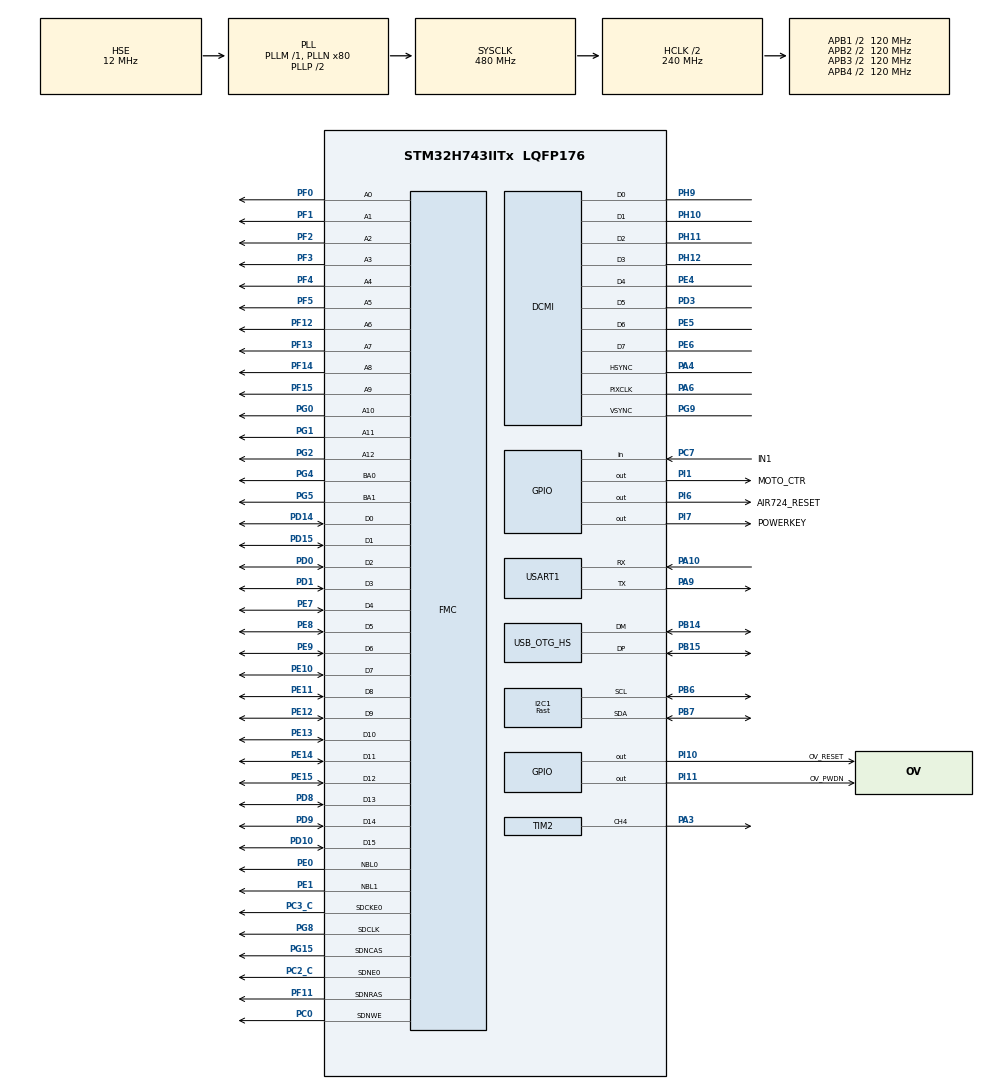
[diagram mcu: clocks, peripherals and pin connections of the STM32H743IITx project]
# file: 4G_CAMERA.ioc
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CORTEX_M7.AccessPermission_Spec=MPU_REGION_FULL_ACCESS
CORTEX_M7.BaseAddress_Spec=0x24000000
CORTEX_M7.CPU_DCache=Enabled
CORTEX_M7.CPU_ICache=Enabled
CORTEX_M7.DisableExec_Spec=MPU_INSTRUCTION_ACCESS_ENABLE
CORTEX_M7.Enable_S-Cortex_Memory_Protection_Unit_Region1_Settings_S=__NULL
CORTEX_M7.IsBufferable_Spec=MPU_ACCESS_BUFFERABLE
CORTEX_M7.IsCacheable_Spec=MPU_ACCESS_CACHEABLE
CORTEX_M7.IsShareable_Spec=MPU_ACCESS_NOT_SHAREABLE
CORTEX_M7.MPU_Control=MPU_PRIVILEGED_DEFAULT
CORTEX_M7.Size_Spec=MPU_REGION_SIZE_512KB
CORTEX_M7.SubRegionDisable_Spec=0x0
CORTEX_M7.TypeExtField_Spec=MPU_TEX_LEVEL0
CORTEX_M7.default_mode_Activation=1
DCMI.HSPolarity=DCMI_HSPOLARITY_LOW
DCMI.JPEGMode=DCMI_JPEG_DISABLE
DCMI.PCKPolarity=DCMI_PCKPOLARITY_RISING
DCMI.VSPolarity=DCMI_VSPOLARITY_HIGH
Dma.DCMI.0.Direction=DMA_PERIPH_TO_MEMORY
Dma.DCMI.0.EventEnable=DISABLE
Dma.DCMI.0.FIFOMode=DMA_FIFOMODE_ENABLE
Dma.DCMI.0.FIFOThreshold=DMA_FIFO_THRESHOLD_FULL
Dma.DCMI.0.Instance=DMA1_Stream0
Dma.DCMI.0.MemBurst=DMA_MBURST_SINGLE
Dma.DCMI.0.MemDataAlignment=DMA_MDATAALIGN_WORD
Dma.DCMI.0.MemInc=DMA_MINC_ENABLE
Dma.DCMI.0.Mode=DMA_NORMAL
Dma.DCMI.0.PeriphBurst=DMA_PBURST_SINGLE
Dma.DCMI.0.PeriphDataAlignment=DMA_PDATAALIGN_WORD
Dma.DCMI.0.PeriphInc=DMA_PINC_DISABLE
Dma.DCMI.0.Polarity=HAL_DMAMUX_REQ_GEN_RISING
Dma.DCMI.0.Priority=DMA_PRIORITY_VERY_HIGH
Dma.DCMI.0.RequestNumber=1
Dma.DCMI.0.SignalID=NONE
Dma.DCMI.0.SyncEnable=DISABLE
Dma.DCMI.0.SyncPolarity=HAL_DMAMUX_SYNC_NO_EVENT
Dma.DCMI.0.SyncRequestNumber=1
Dma.DCMI.0.SyncSignalID=NONE
Dma.Request0=DCMI
FMC.CASLatency1=FMC_SDRAM_CAS_LATENCY_3
FMC.ColumnBitsNumber1=FMC_SDRAM_COLUMN_BITS_NUM_9
FMC.ExitSelfRefreshDelay1=8
FMC.LoadToActiveDelay1=2
FMC.RCDDelay1=2
FMC.RPDelay1=2
FMC.ReadBurst1=FMC_SDRAM_RBURST_ENABLE
FMC.ReadPipeDelay1=FMC_SDRAM_RPIPE_DELAY_1
FMC.RowCycleDelay1=6
FMC.SDClockPeriod1=FMC_SDRAM_CLOCK_PERIOD_2
FMC.SelfRefreshTime1=6
FMC.WriteRecoveryTime1=6
FREERTOS.Tasks01=defaultTask,24,128,StartDefaultTask,Default,NULL,Dynamic,NULL,NULL;cmdAnalysis,31,512,StartCmdAnalysis,Default,NULL,Dynamic,NULL,NULL;sendDataTask,30,512,StartSendDataTask,Default,NULL,Dynamic,NULL,NULL;ledTask,23,128,StartLedTask,Default,NULL,Dynamic,NULL,NULL;motoTask,8,128,StartMotoTask,Default,NULL,Dynamic,NULL,NULL
FREERTOS.configENABLE_FPU=1
I2C1.I2C_Speed_Mode=I2C_Fast
I2C1.Timing=0x00B03FDB
JPEG.JPEG_RGB_FORMAT=JPEG_RGB565
JPEG.JPEG_SWAP_RG=0
Mcu.Family=STM32H7
Mcu.Name=STM32H743IITx
Mcu.Package=LQFP176
NVIC.DCMI_IRQn=true\:5\:0\:false\:false\:true\:true\:true\:true\:true
NVIC.DMA1_Stream0_IRQn=true\:5\:0\:false\:false\:true\:true\:false\:true\:true
NVIC.OTG_HS_IRQn=true\:5\:0\:false\:false\:true\:true\:false\:true\:true
NVIC.PriorityGroup=NVIC_PRIORITYGROUP_4
NVIC.TIM17_IRQn=true\:15\:0\:false\:false\:true\:false\:false\:true\:true
NVIC.TimeBase=TIM17_IRQn
NVIC.TimeBaseIP=TIM17
NVIC.USART1_IRQn=true\:5\:0\:false\:false\:true\:true\:true\:true\:true
PA10.Mode=Asynchronous
PA10.Signal=USART1_RX
PA13\ (JTMS/SWDIO).Mode=Serial_Wire
PA13\ (JTMS/SWDIO).Signal=DEBUG_JTMS-SWDIO
PA14\ (JTCK/SWCLK).Mode=Serial_Wire
PA14\ (JTCK/SWCLK).Signal=DEBUG_JTCK-SWCLK
PA3.Signal=S_TIM2_CH4
PA4.Mode=Slave_8_bits_External_Synchro
PA4.Signal=DCMI_HSYNC
PA6.Mode=Slave_8_bits_External_Synchro
PA6.Signal=DCMI_PIXCLK
PA9.Mode=Asynchronous
PA9.Signal=USART1_TX
PB14.Mode=Device_Only_FS
PB14.Signal=USB_OTG_HS_DM
PB15.Mode=Device_Only_FS
PB15.Signal=USB_OTG_HS_DP
PB6.Mode=I2C
PB6.Signal=I2C1_SCL
PB7.Mode=I2C
PB7.Signal=I2C1_SDA
PC0.Signal=FMC_SDNWE
PC2_C.Mode=SdramChipSelect1_1
PC2_C.Signal=FMC_SDNE0
PC3_C.Mode=SdramChipSelect1_1
PC3_C.Signal=FMC_SDCKE0
PC7.GPIO_Label=IN1
PC7.Signal=GPIO_Input
PD0.Signal=FMC_D2_DA2
PD1.Signal=FMC_D3_DA3
PD10.Signal=FMC_D15_DA15
PD14.Signal=FMC_D0_DA0
PD15.Signal=FMC_D1_DA1
PD3.Mode=Slave_8_bits_External_Synchro
PD3.Signal=DCMI_D5
PD8.Signal=FMC_D13_DA13
PD9.Signal=FMC_D14_DA14
PE0.Signal=FMC_NBL0
PE1.Signal=FMC_NBL1
PE10.Signal=FMC_D7_DA7
PE11.Signal=FMC_D8_DA8
PE12.Signal=FMC_D9_DA9
PE13.Signal=FMC_D10_DA10
PE14.Signal=FMC_D11_DA11
PE15.Signal=FMC_D12_DA12
PE4.Mode=Slave_8_bits_External_Synchro
PE4.Signal=DCMI_D4
PE5.Mode=Slave_8_bits_External_Synchro
PE5.Signal=DCMI_D6
PE6.Mode=Slave_8_bits_External_Synchro
PE6.Signal=DCMI_D7
PE7.Signal=FMC_D4_DA4
PE8.Signal=FMC_D5_DA5
PE9.Signal=FMC_D6_DA6
PF0.Signal=FMC_A0
PF1.Signal=FMC_A1
PF11.Signal=FMC_SDNRAS
PF12.Signal=FMC_A6
PF13.Signal=FMC_A7
PF14.Signal=FMC_A8
PF15.Signal=FMC_A9
PF2.Signal=FMC_A2
PF3.Signal=FMC_A3
PF4.Signal=FMC_A4
PF5.Signal=FMC_A5
PG0.Signal=FMC_A10
PG1.Signal=FMC_A11
PG15.Signal=FMC_SDNCAS
PG2.Signal=FMC_A12
PG4.Signal=FMC_A14_BA0
PG5.Signal=FMC_A15_BA1
PG8.Signal=FMC_SDCLK
PG9.Mode=Slave_8_bits_External_Synchro
PG9.Signal=DCMI_VSYNC
PH0-OSC_IN\ (PH0).Mode=HSE-External-Clock-Source
PH0-OSC_IN\ (PH0).Signal=RCC_OSC_IN
PH10.Mode=Slave_8_bits_External_Synchro
PH10.Signal=DCMI_D1
PH11.Mode=Slave_8_bits_External_Synchro
PH11.Signal=DCMI_D2
PH12.Mode=Slave_8_bits_External_Synchro
PH12.Signal=DCMI_D3
PH9.Mode=Slave_8_bits_External_Synchro
PH9.Signal=DCMI_D0
PI1.GPIO_Label=MOTO_CTR
PI1.GPIO_PuPd=GPIO_PULLUP
PI1.GPIO_Speed=GPIO_SPEED_FREQ_VERY_HIGH
PI1.Signal=GPIO_Output
PI10.GPIO_Label=OV_RESET
PI10.GPIO_PuPd=GPIO_PULLUP
PI10.GPIO_Speed=GPIO_SPEED_FREQ_VERY_HIGH
PI10.Signal=GPIO_Output
PI11.GPIO_Label=OV_PWDN
PI11.GPIO_ModeDefaultOutputPP=GPIO_MODE_OUTPUT_PP
PI11.GPIO_PuPd=GPIO_PULLUP
PI11.GPIO_Speed=GPIO_SPEED_FREQ_VERY_HIGH
PI11.Signal=GPIO_Output
PI6.GPIO_Label=AIR724_RESET
PI6.GPIO_PuPd=GPIO_PULLUP
PI6.GPIO_Speed=GPIO_SPEED_FREQ_VERY_HIGH
PI6.Signal=GPIO_Output
PI7.GPIO_Label=POWERKEY
PI7.GPIO_PuPd=GPIO_PULLUP
PI7.GPIO_Speed=GPIO_SPEED_FREQ_VERY_HIGH
PI7.Signal=GPIO_Output
ProjectManager.HeapSize=0x200
ProjectManager.StackSize=0x400
ProjectManager.TargetToolchain=MDK-ARM V5.32
RCC.ADCFreq_Value=75000000
RCC.APB1Freq_Value=120000000
RCC.APB2Freq_Value=120000000
RCC.APB3Freq_Value=120000000
RCC.APB4Freq_Value=120000000
RCC.CortexFreq_Value=480000000
RCC.D1PPRE=RCC_APB3_DIV2
RCC.D2PPRE1=RCC_APB1_DIV2
RCC.D2PPRE2=RCC_APB2_DIV2
RCC.D3PPRE=RCC_APB4_DIV2
RCC.DIVM1=1
RCC.DIVM2=1
RCC.DIVN1=80
RCC.DIVN2=12
RCC.DIVQ1=4
RCC.DIVR2=1
RCC.FMCCLockSelection=RCC_FMCCLKSOURCE_PLL2
RCC.HCLKFreq_Value=240000000
RCC.HPRE=RCC_HCLK_DIV2
RCC.HSE_VALUE=12000000
RCC.PLL2FRACN=4096
RCC.PLL3FRACN=0
RCC.PLLFRACN=0
RCC.PLLSourceVirtual=RCC_PLLSOURCE_HSE
RCC.ProductRev=revV
RCC.RCC_MCO1Source=RCC_MCO1SOURCE_HSE
RCC.RCC_MCO2Source=RCC_MCO2SOURCE_PLL2PCLK
RCC.RCC_TIM_PRescaler_Selection=RCC_TIMPRES_DESACTIVATED
RCC.RTCClockSelection=RCC_RTCCLKSOURCE_LSE
RCC.SYSCLKFreq_VALUE=480000000
RCC.SYSCLKSource=RCC_SYSCLKSOURCE_PLLCLK
RCC.SupplySource=PWR_LDO_SUPPLY
RCC.USBCLockSelection=RCC_USBCLKSOURCE_HSI48
RCC.USBFreq_Value=48000000
SH.FMC_A0.0=FMC_A0,13b-sda1
SH.FMC_A1.0=FMC_A1,13b-sda1
SH.FMC_A10.0=FMC_A10,13b-sda1
SH.FMC_A11.0=FMC_A11,13b-sda1
SH.FMC_A12.0=FMC_A12,13b-sda1
SH.FMC_A14_BA0.0=FMC_BA0,FourSdramBanks1
SH.FMC_A15_BA1.0=FMC_BA1,FourSdramBanks1
SH.FMC_A2.0=FMC_A2,13b-sda1
SH.FMC_A3.0=FMC_A3,13b-sda1
SH.FMC_A4.0=FMC_A4,13b-sda1
SH.FMC_A5.0=FMC_A5,13b-sda1
SH.FMC_A6.0=FMC_A6,13b-sda1
SH.FMC_A7.0=FMC_A7,13b-sda1
SH.FMC_A8.0=FMC_A8,13b-sda1
SH.FMC_A9.0=FMC_A9,13b-sda1
SH.FMC_D0_DA0.0=FMC_D0,sd-16b-d1
SH.FMC_D10_DA10.0=FMC_D10,sd-16b-d1
SH.FMC_D11_DA11.0=FMC_D11,sd-16b-d1
SH.FMC_D12_DA12.0=FMC_D12,sd-16b-d1
SH.FMC_D13_DA13.0=FMC_D13,sd-16b-d1
SH.FMC_D14_DA14.0=FMC_D14,sd-16b-d1
SH.FMC_D15_DA15.0=FMC_D15,sd-16b-d1
SH.FMC_D1_DA1.0=FMC_D1,sd-16b-d1
SH.FMC_D2_DA2.0=FMC_D2,sd-16b-d1
SH.FMC_D3_DA3.0=FMC_D3,sd-16b-d1
SH.FMC_D4_DA4.0=FMC_D4,sd-16b-d1
SH.FMC_D5_DA5.0=FMC_D5,sd-16b-d1
SH.FMC_D6_DA6.0=FMC_D6,sd-16b-d1
SH.FMC_D7_DA7.0=FMC_D7,sd-16b-d1
SH.FMC_D8_DA8.0=FMC_D8,sd-16b-d1
SH.FMC_D9_DA9.0=FMC_D9,sd-16b-d1
SH.FMC_NBL0.0=FMC_NBL0,Sd2ByteEnable1
SH.FMC_NBL1.0=FMC_NBL1,Sd2ByteEnable1
SH.FMC_SDCLK.0=FMC_SDCLK,13b-sda1
SH.FMC_SDNCAS.0=FMC_SDNCAS,13b-sda1
SH.FMC_SDNRAS.0=FMC_SDNRAS,13b-sda1
SH.FMC_SDNWE.0=FMC_SDNWE,13b-sda1
SH.S_TIM2_CH4.0=TIM2_CH4,PWM Generation4 CH4
TIM2.Channel-PWM\ Generation4\ CH4=TIM_CHANNEL_4
TIM2.Period=100
TIM2.Prescaler=199
USART1.VirtualMode-Asynchronous=VM_ASYNC
USB_DEVICE.CLASS_NAME_HS=CDC
USB_DEVICE.VirtualMode-CDC_HS=Cdc
USB_DEVICE.VirtualModeHS=Cdc_HS
USB_OTG_HS.VirtualMode-Device_Only_FS=Device_Only_FS
VP_FREERTOS_VS_CMSIS_V2.Mode=CMSIS_V2
VP_JPEG_VS_JPEG.Mode=JPEG_Activate
VP_SYS_VS_tim17.Mode=TIM17
VP_TIM2_VS_ClockSourceINT.Mode=Internal
VP_USB_DEVICE_VS_USB_DEVICE_CDC_HS.Mode=CDC_HS
board=custom

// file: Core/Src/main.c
/* USER CODE BEGIN Header */
/**
  ******************************************************************************
  * @file           : main.c
  * @brief          : Main program body
  ******************************************************************************
  * @attention
  *
  * Copyright (c) 2024 STMicroelectronics.
  * All rights reserved.
  *
  * This software is licensed under terms that can be found in the LICENSE file
  * in the root directory of this software component.
  * If no LICENSE file comes with this software, it is provided AS-IS.
  *
  ******************************************************************************
  */
/* USER CODE END Header */
#include "main.h"
#include "cmsis_os.h"
#include "dcmi.h"
#include "dma.h"
#include "i2c.h"
#include "jpeg.h"
#include "tim.h"
#include "usart.h"
#include "usb_device.h"
#include "gpio.h"
#include "fmc.h"

/* USER CODE BEGIN Includes */
#include "sdram.h"
#include "ov5640.h"
#include "flash.h"
#include "stm32h7xx_it.h"
/* USER CODE END Includes */

/* USER CODE BEGIN PV */

uint32_t bsp_TestExtSDRAM(void);

unsigned int SysClockFreq = 0;
unsigned char DMA_END_FLAG = 0;

unsigned char *picStart;

uint32_t dcmi_data_buff[RGB_DATA_BUFFER_SIZE/4];//JPEG数据缓存buf,定义在LCD帧缓存之后
uint32_t jpgDataBuffer[JPG_DATA_BUFFER_SIZE/4];

volatile uint32_t jpeg_data_len=0;
volatile uint8_t jpeg_data_ok=0;				//JPEG数据采集完成标志

unsigned int dcmi_dma_status;
uint32_t DCMI_RN = 0;  //row number
uint32_t DCMI_CN = 0;  //column number
uint32_t DCMI_RS = 0;  //row start
uint32_t DCMI_CS = 0;  //column start

int pictureLength = 0;

uint8_t *P = NULL;
uint8_t *startPlace = NULL;
uint8_t *endPlace = NULL;
void jpeg_data_process(void);
/* USER CODE END PV */

void SystemClock_Config(void);
static void MPU_Initialize(void);
static void MPU_Config(void);
void MX_FREERTOS_Init(void);

/* USER CODE BEGIN 0 */
uint32_t sysclock = 0;
HAL_DMA_StateTypeDef state;
uint8_t *p;
uint32_t i,jpgstart,jpglen;
uint8_t headok = 0;

uint8_t sendRgbPicData = 0;
uint8_t *dataPtr = NULL;

_deviceInfo deviceAttributeInfo;

/* USER CODE END 0 */

int main(void)
{

  /* Enable I-Cache---------------------------------------------------------*/
  SCB_EnableICache();

  /* Enable D-Cache---------------------------------------------------------*/
  SCB_EnableDCache();

  /* MCU Configuration--------------------------------------------------------*/

  /* Reset of all peripherals, Initializes the Flash interface and the Systick. */
  HAL_Init();

  /* MPU Configuration--------------------------------------------------------*/
  MPU_Config();

  /* Configure the system clock */
  SystemClock_Config();

  /* Initialize all configured peripherals */
  MX_GPIO_Init();
  MX_DMA_Init();
  MX_DCMI_Init();
  MX_USART1_UART_Init();
  MX_TIM2_Init();
  MX_I2C1_Init();
  MX_FMC_Init();
  MX_JPEG_Init();
  /* USER CODE BEGIN 2 */
	sysclock = HAL_RCC_GetSysClockFreq();

//	bsp_TestExtSDRAM();
//	memset((uint8_t *)deviceAttributeInfo.wifiName,0,sizeof(deviceAttributeInfo));
//	bsp_EraseCpuFlash((uint32_t)ADDR_FLASH_SECTOR_7_BANK2);
//	bsp_WriteCpuFlash(ADDR_FLASH_SECTOR_7_BANK2,(uint8_t *)deviceAttributeInfo.wifiName,sizeof(deviceAttributeInfo));

	bsp_ReadCpuFlash(ADDR_FLASH_SECTOR_7_BANK2,(uint8_t *)&deviceAttributeInfo.wifiName[0],sizeof(deviceAttributeInfo));
	deviceAttributeInfo.sysState = SYS_OK_STATE;
	HAL_UART_Receive_IT(&huart1,&uartTempData,1); //使能串口1的接收中断

	OV5640_Init();

//  if(OV2640_INIT_OK != OV2640_Init())
//	{
//		deviceAttributeInfo.sysState = OV2640_ERROR_STATE;
//	}

	HAL_TIM_PWM_Start(&htim2,TIM_CHANNEL_4);			//使能TIM1 CH1 PWM输出

  /* USER CODE END 2 */

  /* Init scheduler */
  osKernelInitialize();  /* Call init function for freertos objects (in freertos.c) */
  MX_FREERTOS_Init();

  /* Start scheduler */
  osKernelStart();

  /* We should never get here as control is now taken by the scheduler */
  /* Infinite loop */
  while (1)
  {

  }
}

void SystemClock_Config(void)
{
  RCC_OscInitTypeDef RCC_OscInitStruct = {0};
  RCC_ClkInitTypeDef RCC_ClkInitStruct = {0};

  /** Supply configuration update enable
  */
  HAL_PWREx_ConfigSupply(PWR_LDO_SUPPLY);

  /** Configure the main internal regulator output voltage
  */
  __HAL_PWR_VOLTAGESCALING_CONFIG(PWR_REGULATOR_VOLTAGE_SCALE1);

  while(!__HAL_PWR_GET_FLAG(PWR_FLAG_VOSRDY)) {}

  __HAL_RCC_SYSCFG_CLK_ENABLE();
  __HAL_PWR_VOLTAGESCALING_CONFIG(PWR_REGULATOR_VOLTAGE_SCALE0);

  while(!__HAL_PWR_GET_FLAG(PWR_FLAG_VOSRDY)) {}

  /** Initializes the RCC Oscillators according to the specified parameters
  * in the RCC_OscInitTypeDef structure.
  */
  RCC_OscInitStruct.OscillatorType = RCC_OSCILLATORTYPE_HSI48|RCC_OSCILLATORTYPE_HSE;
  RCC_OscInitStruct.HSEState = RCC_HSE_BYPASS;
  RCC_OscInitStruct.HSI48State = RCC_HSI48_ON;
  RCC_OscInitStruct.PLL.PLLState = RCC_PLL_ON;
  RCC_OscInitStruct.PLL.PLLSource = RCC_PLLSOURCE_HSE;
  RCC_OscInitStruct.PLL.PLLM = 1;
  RCC_OscInitStruct.PLL.PLLN = 80;
  RCC_OscInitStruct.PLL.PLLP = 2;
  RCC_OscInitStruct.PLL.PLLQ = 4;
  RCC_OscInitStruct.PLL.PLLR = 2;
  RCC_OscInitStruct.PLL.PLLRGE = RCC_PLL1VCIRANGE_3;
  RCC_OscInitStruct.PLL.PLLVCOSEL = RCC_PLL1VCOWIDE;
  RCC_OscInitStruct.PLL.PLLFRACN = 0;
  if (HAL_RCC_OscConfig(&RCC_OscInitStruct) != HAL_OK)
  {
    Error_Handler();
  }

  /** Initializes the CPU, AHB and APB buses clocks
  */
  RCC_ClkInitStruct.ClockType = RCC_CLOCKTYPE_HCLK|RCC_CLOCKTYPE_SYSCLK
                              |RCC_CLOCKTYPE_PCLK1|RCC_CLOCKTYPE_PCLK2
                              |RCC_CLOCKTYPE_D3PCLK1|RCC_CLOCKTYPE_D1PCLK1;
  RCC_ClkInitStruct.SYSCLKSource = RCC_SYSCLKSOURCE_PLLCLK;
  RCC_ClkInitStruct.SYSCLKDivider = RCC_SYSCLK_DIV1;
  RCC_ClkInitStruct.AHBCLKDivider = RCC_HCLK_DIV2;
  RCC_ClkInitStruct.APB3CLKDivider = RCC_APB3_DIV2;
  RCC_ClkInitStruct.APB1CLKDivider = RCC_APB1_DIV2;
  RCC_ClkInitStruct.APB2CLKDivider = RCC_APB2_DIV2;
  RCC_ClkInitStruct.APB4CLKDivider = RCC_APB4_DIV2;

  if (HAL_RCC_ClockConfig(&RCC_ClkInitStruct, FLASH_LATENCY_4) != HAL_OK)
  {
    Error_Handler();
  }
}

/* USER CODE BEGIN 4 */

uint32_t bsp_TestExtSDRAM(void)
{
	uint32_t i;
	uint32_t *pSRAM;
	uint8_t *pBytes;
	uint32_t err;
	const uint8_t ByteBuf[4] = {0x55, 0xA5, 0x5A, 0xAA};

	/* 写SDRAM */
	pSRAM = (uint32_t *)EXT_SDRAM_ADDR;
	for (i = 0; i < EXT_SDRAM_SIZE / 4; i++)
	{
		*pSRAM++ = i;
	}

	/* 读SDRAM */
	err = 0;
	pSRAM = (uint32_t *)EXT_SDRAM_ADDR;
	for (i = 0; i < EXT_SDRAM_SIZE / 4; i++)
	{
		if (*pSRAM++ != i)
		{
			err++;
		}
	}

	if (err >  0)
	{
		return  (4 * err);
	}

	/* 对SDRAM 的数据求反并写入 */
	pSRAM = (uint32_t *)EXT_SDRAM_ADDR;
	for (i = 0; i < EXT_SDRAM_SIZE / 4; i++)
	{
		*pSRAM = ~*pSRAM;
		pSRAM++;
	}

	/* 再次比较SDRAM的数据 */
	err = 0;
	pSRAM = (uint32_t *)EXT_SDRAM_ADDR;
	for (i = 0; i < EXT_SDRAM_SIZE / 4; i++)
	{
		if (*pSRAM++ != (~i))
		{
			err++;
		}
	}

	if (err >  0)
	{
		return (4 * err);
	}

	/* 测试按字节方式访问, 目的是验证 FSMC_NBL0 、 FSMC_NBL1 口线 */
	pBytes = (uint8_t *)EXT_SDRAM_ADDR;
	for (i = 0; i < sizeof(ByteBuf); i++)
	{
		*pBytes++ = ByteBuf[i];
	}

	/* 比较SDRAM的数据 */
	err = 0;
	pBytes = (uint8_t *)EXT_SDRAM_ADDR;
	for (i = 0; i < sizeof(ByteBuf); i++)
	{
		if (*pBytes++ != ByteBuf[i])
		{
			err++;
		}
	}
	if (err >  0)
	{
		return err;
	}
	return 0;
}
/* USER CODE END 4 */

/* MPU Configuration */

void MPU_Config(void)
{
  MPU_Region_InitTypeDef MPU_InitStruct = {0};

  /* Disables the MPU */
  HAL_MPU_Disable();

  /** Initializes and configures the Region and the memory to be protected
  */
  MPU_InitStruct.Enable = MPU_REGION_ENABLE;
  MPU_InitStruct.Number = MPU_REGION_NUMBER0;
  MPU_InitStruct.BaseAddress = 0x24000000;
  MPU_InitStruct.Size = MPU_REGION_SIZE_512KB;
  MPU_InitStruct.SubRegionDisable = 0x0;
  MPU_InitStruct.TypeExtField = MPU_TEX_LEVEL0;
  MPU_InitStruct.AccessPermission = MPU_REGION_FULL_ACCESS;
  MPU_InitStruct.DisableExec = MPU_INSTRUCTION_ACCESS_ENABLE;
  MPU_InitStruct.IsShareable = MPU_ACCESS_NOT_SHAREABLE;
  MPU_InitStruct.IsCacheable = MPU_ACCESS_CACHEABLE;
  MPU_InitStruct.IsBufferable = MPU_ACCESS_BUFFERABLE;

  HAL_MPU_ConfigRegion(&MPU_InitStruct);
  /* Enables the MPU */
  HAL_MPU_Enable(MPU_PRIVILEGED_DEFAULT);

}

void HAL_TIM_PeriodElapsedCallback(TIM_HandleTypeDef *htim)
{
  if (htim->Instance == TIM17) {
    HAL_IncTick();
  }
}

void Error_Handler(void)
{
  __disable_irq();
  while (1)
  {
  }
}

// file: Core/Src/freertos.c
/* USER CODE BEGIN Header */
/**
  ******************************************************************************
  * File Name          : freertos.c
  * Description        : Code for freertos applications
  ******************************************************************************
  * @attention
  *
  * Copyright (c) 2024 STMicroelectronics.
  * All rights reserved.
  *
  * This software is licensed under terms that can be found in the LICENSE file
  * in the root directory of this software component.
  * If no LICENSE file comes with this software, it is provided AS-IS.
  *
  ******************************************************************************
  */
/* USER CODE END Header */

#include "FreeRTOS.h"
#include "task.h"
#include "main.h"
#include "cmsis_os.h"

/* USER CODE BEGIN Includes */
#include "dcmi.h"
#include "jpeg.h"
#include "jpeg_utils.h"
#include "usbd_cdc_if.h"
#include "main.h"
#include "usart.h"
#include "ringBuffer.h"
#include "usbd_cdc_if.h"
#include "flash.h"
#include "tim.h"
#include "air724.h"
#include "ov5640.h"
/* USER CODE END Includes */

/* USER CODE BEGIN Variables */
char air724InitOk = 1;
char getTackPictureFlag = 0;
char takePictureFlag = 0;
char openMotoFlag = 0;
uint32_t lastSec = 0;
char anlysis = 0;

uint8_t takePictureTestModeFlag = 0;

/* USER CODE END Variables */
/* Definitions for defaultTask */
osThreadId_t defaultTaskHandle;
const osThreadAttr_t defaultTask_attributes = {
  .name = "defaultTask",
  .stack_size = 128 * 4,
  .priority = (osPriority_t) osPriorityNormal,
};
/* Definitions for cmdAnalysis */
osThreadId_t cmdAnalysisHandle;
const osThreadAttr_t cmdAnalysis_attributes = {
  .name = "cmdAnalysis",
  .stack_size = 512 * 4,
  .priority = (osPriority_t) osPriorityNormal7,
};
/* Definitions for sendDataTask */
osThreadId_t sendDataTaskHandle;
const osThreadAttr_t sendDataTask_attributes = {
  .name = "sendDataTask",
  .stack_size = 512 * 4,
  .priority = (osPriority_t) osPriorityNormal6,
};
/* Definitions for ledTask */
osThreadId_t ledTaskHandle;
const osThreadAttr_t ledTask_attributes = {
  .name = "ledTask",
  .stack_size = 128 * 4,
  .priority = (osPriority_t) osPriorityBelowNormal7,
};
/* Definitions for motoTask */
osThreadId_t motoTaskHandle;
const osThreadAttr_t motoTask_attributes = {
  .name = "motoTask",
  .stack_size = 128 * 4,
  .priority = (osPriority_t) osPriorityLow,
};

/* USER CODE BEGIN FunctionPrototypes */
static uint8_t vcpSendData(uint8_t frameHead, uint8_t frameAddress, uint8_t frameID, uint8_t* data,uint8_t dataLen);
	static uint8_t sendLogMessage(unsigned char frameHead, unsigned char frameAddress, unsigned char frameID, char* data);
static void showDeviceInfo(void);
static void vcpDataAnalysis(_RingBuffer *ringbuffer);
static void usart1DataAnalysis(_RingBuffer *ringbuffer);

static void frameDataAnalysis(uint8_t *data,uint32_t dataLen);
static void pcToCameraDeal(uint8_t *data);
static void packTcpDataFrameAndSend(uint8_t charactar,uint8_t target, uint8_t cmd, uint32_t dataLen, uint8_t *data);
/* USER CODE END FunctionPrototypes */

void StartDefaultTask(void *argument);
void StartCmdAnalysis(void *argument);
void StartSendDataTask(void *argument);
void StartLedTask(void *argument);
void StartMotoTask(void *argument);

extern void MX_USB_DEVICE_Init(void);
void MX_FREERTOS_Init(void); /* (MISRA C 2004 rule 8.1) */

void MX_FREERTOS_Init(void) {

  /* Create the thread(s) */
  /* creation of defaultTask */
  defaultTaskHandle = osThreadNew(StartDefaultTask, NULL, &defaultTask_attributes);

  /* creation of cmdAnalysis */
  cmdAnalysisHandle = osThreadNew(StartCmdAnalysis, NULL, &cmdAnalysis_attributes);

  /* creation of sendDataTask */
  sendDataTaskHandle = osThreadNew(StartSendDataTask, NULL, &sendDataTask_attributes);

  /* creation of ledTask */
  ledTaskHandle = osThreadNew(StartLedTask, NULL, &ledTask_attributes);

  /* creation of motoTask */
  motoTaskHandle = osThreadNew(StartMotoTask, NULL, &motoTask_attributes);

}

void StartDefaultTask(void *argument)
{
  /* init code for USB_DEVICE */
  MX_USB_DEVICE_Init();
  /* USER CODE BEGIN StartDefaultTask */
//	uint16_t reTryCnt = 0;
//	while(AIR724_INIT_OK != air724Init() && reTryCnt<10)
//	{
//		deviceAttributeInfo.sysState = AIR724_ERROR_STATE;
//		reTryCnt++;
//		HAL_Delay(5000);
//	}
//	if(10 == reTryCnt)
//	{
//		deviceAttributeInfo.sysState = AIR724_ERROR_STATE;
//		air724InitOk = 1;
//	}
//	else
//	{
//		deviceAttributeInfo.sysState = SYS_OK_STATE;
//		air724InitOk = AIR724_INIT_OK;
//	}
  /* Infinite loop */
  for(;;)
  {
    osDelay(2000);
		if(1 == sendRgbPicData)
		{
			sendRgbPicData = 0;
		}
  }
  /* USER CODE END StartDefaultTask */
}

void StartCmdAnalysis(void *argument)
{
  /* USER CODE BEGIN StartCmdAnalysis */
  /* Infinite loop */
  for(;;)
  {
		vcpDataAnalysis(&VCP_RxRingBuffer);
		if(anlysis == 1)
			usart1DataAnalysis(&UART_RxRingBuffer);
    osDelay(100);
  }
  /* USER CODE END StartCmdAnalysis */
}

void StartSendDataTask(void *argument)
{
  /* USER CODE BEGIN StartSendDataTask */
//  	while(1 == air724InitOk)
//	{
//		osDelay(1000);
//	}
  /* Infinite loop */
	uint8_t *dataPtr = NULL;
	lastSec = time.hour * 60 + time.minute;
	takePictureFlag = 0;

	uint8_t takePictureOverTime = 0;

	JPEG_InitColorTables();

  for(;;)
  {
    /*************************************************************************发送TCP心跳包**********************************************************************************************/
		static uint8_t heartBeatTimeCnt = 0;
		if(heartBeatTimeCnt == 200)
		{
				packTcpDataFrameAndSend(DEVICE_LABEL_CAMERA,CAMER_TO_SERVER,HERAT_BEAT_PACK,0,0);
				heartBeatTimeCnt = 0;
		}
		heartBeatTimeCnt++;
		if(SYS_TEST_MODE_SATE == deviceAttributeInfo.sysState)
		{
			if(1 == takePictureTestModeFlag)
			{
				OV5640_Focus_Single();

				JPEG_ConfTypeDef    jpeg_info;
				JPEG_RGBToYCbCr_Convert_Function pRGBToYCbCr_Convert_Function;
				uint32_t MCU_TotalNb=0;
				uint32_t ConvertedDataCount=0;

				uint8_t *tempP = NULL;
				uint8_t *jpegStart = NULL;
				uint8_t *jpegEnd = NULL;
				uint32_t jpegLen = 0;

				/* 设置裁剪的感兴趣区域 */
				/* 总的尺寸是 2592 * 1940 ,总的传输大小为 2590 * 1940 * 2 = 10056960 ,单次传输 2592 * 1940,DMA大小为 2590 * 1940 * 2/4 =  2514240*/
				HAL_DCMI_DisableCrop(&hdcmi);
				HAL_Delay(1);
				HAL_DCMI_ConfigCrop (&hdcmi,0,0,2592*2-1,1940-1);
				HAL_Delay(1);
				HAL_DCMI_EnableCrop (&hdcmi);
				HAL_Delay(1);

				HAL_DCMI_Start_DMA(&hdcmi,DCMI_MODE_SNAPSHOT,(uint32_t)&dcmi_data_buff,2514240);
				while ((DCMI->CR & DCMI_CR_CAPTURE) != 0) {};
				HAL_DCMI_Stop(&hdcmi);

				dataPtr = (unsigned char *)dcmi_data_buff;

				jpeg_info.ImageWidth = 2592;
				jpeg_info.ImageHeight = 1940;
				jpeg_info.ChromaSubsampling = JPEG_420_SUBSAMPLING;
				jpeg_info.ColorSpace = JPEG_YCBCR_COLORSPACE;
				jpeg_info.ImageQuality = 100;
				HAL_JPEG_ConfigEncoding(&hjpeg, &jpeg_info);

				//根据编码信息，获取编码函数和数量
				JPEG_GetEncodeColorConvertFunc(&jpeg_info, &pRGBToYCbCr_Convert_Function, &MCU_TotalNb);

				//预处理，将RGB转换为指定的YUV格式
				pRGBToYCbCr_Convert_Function((uint8_t *)dcmi_data_buff, (uint8_t *)jpgDataBuffer, 0, 2592*1940*2,&ConvertedDataCount);

				HAL_JPEG_Encode(&hjpeg,(uint8_t *)jpgDataBuffer,ConvertedDataCount,(uint8_t *)dcmi_data_buff,JPG_DATA_BUFFER_SIZE,HAL_MAX_DELAY);

				tempP = (unsigned char *)dcmi_data_buff;
				jpegLen = 0;
				jpegStart = NULL;
				jpegEnd = NULL;
				for(int i=0;i<JPG_DATA_BUFFER_SIZE;)
				{
					if(0xFF == tempP[i] && 0xD8 == tempP[i+1])
					{
						jpegStart = &tempP[i];
					}
					if(0xFF == tempP[i] && 0xD9 == tempP[i+1])
					{
						jpegEnd = &tempP[i+1];
						break;
					}
					i++;
				}
				if(NULL != jpegStart && NULL != jpegEnd)								/* 判断数据检测是否有效 */
				{
					jpegLen = jpegEnd - jpegStart + 1;
				}

				if(jpegLen)																							/* 数据有效 */
				{
					uint8_t tempVcpSendDataBuffer[260];
					tempVcpSendDataBuffer[0] = jpegLen;
					tempVcpSendDataBuffer[1] = jpegLen >> 8;
					tempVcpSendDataBuffer[2] = jpegLen >> 16;
					tempVcpSendDataBuffer[3] = jpegLen >> 24;
					vcpSendData(0xAA,MCU,CMD_JPEG_DATA_PACK_SIZE,tempVcpSendDataBuffer,4);			/* 发送图片大小 */

					uint32_t clcTimes = 0;
					clcTimes = jpegLen / 240;
					for(int i=0;i<clcTimes;i++)
					{
//						while(CDC_Transmit_HS(jpegStart,64000) != USBD_OK){};
						vcpSendData(0xAA,MCU,CMD_JPEG_DATA_PACK,jpegStart,240);
						jpegStart += 240;
					}
					jpegLen = jpegLen % 240;
//					while(CDC_Transmit_HS(jpegStart,jpegLen) != USBD_OK){};
					vcpSendData(0xAA,MCU,CMD_JPEG_DATA_PACK,jpegStart,jpegLen);
					vcpSendData(0xAA,MCU,CMD_JPEG_DATA_SEND_END,0,0);														/* 告知发送结束 */
				}
				takePictureTestModeFlag = 0;
			}
		}
		else
		{
			/*******************************************************************************固定定时判断**********************************************************************************************/
			static unsigned char timeArrive = 0;
			char timeCmp[6];
			sprintf(timeCmp,"%02d:%02d",time.hour,time.minute);
			for(int i=0;i<50;i++)
			{
					if(strcmp(timeCmp,deviceAttributeInfo.recordTime[i]) == 0 && timeArrive != i)
					{
							openMotoFlag = 1;
							timeArrive = i;
					}
			}
			/*******************************************************************************间隔定时判断**********************************************************************************************/
			if(deviceAttributeInfo.scheduledDeletion != 0)/* 定时有效,单位分钟 */
			{
					uint32_t nowSec = time.hour * 60 + time.minute;
					if(nowSec < lastSec)	nowSec+=	24*60;
					if(nowSec - lastSec >= deviceAttributeInfo.scheduledDeletion)
					{
							lastSec = nowSec;
							openMotoFlag = 1;
					}
			}
			/*******************************************************************************拍照**********************************************************************************************/
			if(1 == getTackPictureFlag)
			{
				__HAL_TIM_SetCompare(&htim2, TIM_CHANNEL_4, deviceAttributeInfo.ledFlashBrightness);

				vTaskDelay(pdMS_TO_TICKS(deviceAttributeInfo.takePictureDelayTime*1000));

				/* 设置裁剪的感兴趣区域 */
				/* 总的尺寸是1200*1000,总的传输大小为1200*1000*2 = 2400000,单次传输1200*40,DMA大小为1200*40*2/4 =  24000*/
				/* 总的尺寸是1600*1200,总的传输大小为1600*1200*2 = 3840000,单次传输1600*30,DMA大小为1600*30*2/4 =  24000*/
				/* 总的尺寸是1600*1200,总的传输大小为1600*1200*2 = 3840000,单次传输1600*150,DMA大小为1600*150*2/4 =  240000*/
				for(int i=0;i<15;i++)
				{

					HAL_DCMI_DisableCrop(&hdcmi);
					HAL_Delay(1);
					HAL_DCMI_ConfigCrop (&hdcmi,0,80*i,1600*2-1,80-1);
					HAL_Delay(1);
					HAL_DCMI_EnableCrop (&hdcmi);
					HAL_Delay(1);

					HAL_DCMI_Start_DMA(&hdcmi,DCMI_MODE_SNAPSHOT,(uint32_t)&dcmi_data_buff,64000);

					takePictureOverTime = 0;
					while(HAL_DMA_GetState(&hdma_dcmi)==HAL_DMA_STATE_BUSY && takePictureOverTime < 100)
					{
						takePictureOverTime++;
						HAL_Delay(10);
					}
					HAL_DCMI_Stop(&hdcmi);

					dataPtr = (unsigned char *)dcmi_data_buff;

					packTcpDataFrameAndSend(DEVICE_LABEL_CAMERA,CAMER_TO_PC,PICTURE_DATA_PACK,64000,dataPtr);
					dataPtr+=64000;
					packTcpDataFrameAndSend(DEVICE_LABEL_CAMERA,CAMER_TO_PC,PICTURE_DATA_PACK,64000,dataPtr);
					dataPtr+=64000;
					packTcpDataFrameAndSend(DEVICE_LABEL_CAMERA,CAMER_TO_PC,PICTURE_DATA_PACK,64000,dataPtr);
					dataPtr+=64000;
					packTcpDataFrameAndSend(DEVICE_LABEL_CAMERA,CAMER_TO_PC,PICTURE_DATA_PACK,64000,dataPtr);
				}

				packTcpDataFrameAndSend(DEVICE_LABEL_CAMERA,CAMER_TO_PC,TAKE_RGB_PICTURE_END,0,0);

				__HAL_TIM_SetCompare(&htim2, TIM_CHANNEL_4, 0);

				getTackPictureFlag = 0;
			}
			if(takePictureFlag == 1)
			{
				__HAL_TIM_SetCompare(&htim2, TIM_CHANNEL_4, deviceAttributeInfo.ledFlashBrightness);

				vTaskDelay(pdMS_TO_TICKS(deviceAttributeInfo.takePictureDelayTime*1000));

				/* 设置裁剪的感兴趣区域 */
				/* 总的尺寸是1200*1000,总的传输大小为1200*1000*2 = 2400000,单次传输1200*40,DMA大小为1200*40*2/4 =  24000*/
				/* 总的尺寸是1600*1200,总的传输大小为1600*1200*2 = 3840000,单次传输1600*30,DMA大小为1600*30*2/4 =  24000*/
				/* 总的尺寸是1600*1200,总的传输大小为1600*1200*2 = 3840000,单次传输1600*150,DMA大小为1600*150*2/4 =  240000*/
				for(int i=0;i<15;i++)
				{

					HAL_DCMI_DisableCrop(&hdcmi);
					HAL_Delay(1);
					HAL_DCMI_ConfigCrop (&hdcmi,0,80*i,1600*2-1,80-1);
					HAL_Delay(1);
					HAL_DCMI_EnableCrop (&hdcmi);
					HAL_Delay(1);

					HAL_DCMI_Start_DMA(&hdcmi,DCMI_MODE_SNAPSHOT,(uint32_t)&dcmi_data_buff,64000);

					takePictureOverTime = 0;
					while(HAL_DMA_GetState(&hdma_dcmi)==HAL_DMA_STATE_BUSY && takePictureOverTime < 100)
					{
						takePictureOverTime++;
						HAL_Delay(10);
					}
					HAL_DCMI_Stop(&hdcmi);

					dataPtr = (unsigned char *)dcmi_data_buff;

					packTcpDataFrameAndSend(DEVICE_LABEL_CAMERA,CAMER_TO_SERVER,PICTURE_DATA_PACK,64000,dataPtr);
					dataPtr+=64000;
					packTcpDataFrameAndSend(DEVICE_LABEL_CAMERA,CAMER_TO_SERVER,PICTURE_DATA_PACK,64000,dataPtr);
					dataPtr+=64000;
					packTcpDataFrameAndSend(DEVICE_LABEL_CAMERA,CAMER_TO_SERVER,PICTURE_DATA_PACK,64000,dataPtr);
					dataPtr+=64000;
					packTcpDataFrameAndSend(DEVICE_LABEL_CAMERA,CAMER_TO_SERVER,PICTURE_DATA_PACK,64000,dataPtr);
				}

				packTcpDataFrameAndSend(DEVICE_LABEL_CAMERA,CAMER_TO_SERVER,TAKE_RGB_PICTURE_END,0,0);
				__HAL_TIM_SetCompare(&htim2, TIM_CHANNEL_4, 0);
				takePictureFlag = 0;
			}
			osDelay(10);
		}

  }
  /* USER CODE END StartSendDataTask */
}

void StartLedTask(void *argument)
{
  /* USER CODE BEGIN StartLedTask */
  /* Infinite loop */
  for(;;)
  {

    osDelay(10);
  }
  /* USER CODE END StartLedTask */
}

void StartMotoTask(void *argument)
{
  /* USER CODE BEGIN StartMotoTask */
  /* Infinite loop */
  for(;;)
  {
		/*******************************************************************************外部电平检测**********************************************************************************************/
		static char keyFlag = 0;
		if(HAL_GPIO_ReadPin(IN1_GPIO_Port,IN1_Pin) == 0 && keyFlag == 0)/* 吸合检测到低电平，水位到达水位线 */
		{
				takePictureFlag = 1;
				keyFlag = 1;
				HAL_GPIO_WritePin(MOTO_CTR_GPIO_Port, MOTO_CTR_Pin, GPIO_PIN_RESET);//检测到水位到达，立马关闭水泵
		}
		else if(HAL_GPIO_ReadPin(IN1_GPIO_Port,IN1_Pin) == 1 && keyFlag == 1)/* 断开检测到高电平 */
		{
				keyFlag = 0;
		}
/*********************************************************************************继电器控制****************************************************************************************************/
		if(openMotoFlag == 1 && HAL_GPIO_ReadPin(IN1_GPIO_Port,IN1_Pin) == 1) /* 水位检测开关没有到达水位线，可以打开水泵 */
		{
				HAL_GPIO_WritePin(MOTO_CTR_GPIO_Port, MOTO_CTR_Pin, GPIO_PIN_SET);//打开水泵命令，打开水泵
				openMotoFlag = 0;
		}
		else if(openMotoFlag == 1 && HAL_GPIO_ReadPin(IN1_GPIO_Port,IN1_Pin) == 0)
		{
				//此时就只执行拍照
				takePictureFlag = 1;
				openMotoFlag = 0;
		}
    osDelay(10);
  }
  /* USER CODE END StartMotoTask */
}

/* USER CODE BEGIN Application */
/*
	vcpDataAnalysis(_RingBuffer *ringbuffer)
	功能:解析USB虚拟串口接收的数据
*/
static void vcpDataAnalysis(_RingBuffer *ringbuffer)
{
	char logBuffer[100];
	unsigned char *RxFrameData;/*存储解析帧的空间*/
	unsigned short FrameDataLen = ringbuffer->Lenght;
	if(xPortGetFreeHeapSize() >= FrameDataLen)
	{
		RxFrameData = (unsigned char *)pvPortMalloc(FrameDataLen);	/*为读取缓冲区中的所有数据申请内存*/
		if(ReadBytes(ringbuffer,RxFrameData,FrameDataLen) == 1)		/*读取缓冲区中的所有数据*/
		{
			/*读取到缓冲区的数据*/
			for(int i=0;i<FrameDataLen;i++)	/*遍历*/
			{
				if(RxFrameData[i] == 0xAA)			/*找帧头*/
				{
					if(FrameDataLen - i <= 3)		/*帧头后面无数据长度*/
					{
						WriteBytes(ringbuffer,&RxFrameData[i],FrameDataLen - i);/*未处理的数据写回缓冲区*/
						vPortFree(RxFrameData);  //释放内存
						return ;/*返回空数据*/
					}

					unsigned short FrameLen = RxFrameData[i+3];			/*得到帧数据内容长度*/

					if((FrameDataLen - i) >= (4 + FrameLen + 2))	/*剩余数据是否还有一帧的长度*/
					{
						if(FrameDataCheck( &RxFrameData[i] ) == 1)		/*校验帧数据*/
						{
							unsigned short OneFrameDataLen = 4 + FrameLen + 2;			/*返回帧总长*/
							if(RxFrameData[i+1] == PC)														/*是上位机发送的数据*/
							{
								switch (RxFrameData[i+2])
								{
										case CDM_WIFI_NAME:
										{
												memset(deviceAttributeInfo.wifiName,0,sizeof(deviceAttributeInfo.wifiName));
												memcpy((char *)deviceAttributeInfo.wifiName, &RxFrameData[i+4],FrameLen);
												break;
										}
										case CMD_WIFI_PASSWORD:
										{
												memset(deviceAttributeInfo.wifiPssword,0,sizeof(deviceAttributeInfo.wifiPssword));
												memcpy((char *)deviceAttributeInfo.wifiPssword, &RxFrameData[i+4],FrameLen);
												break;
										}
										case CMD_SERVER_IP:
										{
												memset(deviceAttributeInfo.serverIP,0,sizeof(deviceAttributeInfo.serverIP));
												memcpy((char *)deviceAttributeInfo.serverIP, &RxFrameData[i+4],FrameLen);
												break;
										}
										case CMD_DEVICE_ID:
										{
												memset(deviceAttributeInfo.deviceID,0,sizeof(deviceAttributeInfo.deviceID));
												memcpy((char *)deviceAttributeInfo.deviceID, &RxFrameData[i+4],FrameLen);
												break;
										}
										case CMD_SERVER_PORT:
										{
												char temp[10];
												memcpy((char *)temp, &RxFrameData[i+4],FrameLen);
												deviceAttributeInfo.serverPort = RxFrameData[i+4] | RxFrameData[i+5] <<8;
												break;
										}
										case CMD_PICTURE_SIZE:
										{
												deviceAttributeInfo.picSize = RxFrameData[i+4] | RxFrameData[i+5] <<8;
												break;
										}
										case CMD_PICTURE_QUALITY:
										{
												deviceAttributeInfo.jpegQuality = RxFrameData[i+4] | RxFrameData[i+5] <<8;
												break;
										}
										case CMD_SET_LIED_BRIGHTNESS:
										{
												deviceAttributeInfo.ledFlashBrightness = RxFrameData[i+4] | RxFrameData[i+5] <<8;
												break;
										}
										case CMD_SET_TAKE_PICTURE_DELAY_TIME:
										{
												deviceAttributeInfo.takePictureDelayTime = RxFrameData[i+4] | RxFrameData[i+5] <<8;
												break;
										}
										case CMD_SET_PARA_END:			/* 设置参数接收完成 */
										{
												bsp_EraseCpuFlash((uint32_t)ADDR_FLASH_SECTOR_7_BANK2);
												bsp_WriteCpuFlash(ADDR_FLASH_SECTOR_7_BANK2,(uint8_t *)deviceAttributeInfo.wifiName,sizeof(deviceAttributeInfo));
												deviceAttributeInfo.recordTimeIndex = 0;
												deviceAttributeInfo.isSetRecordTime = 1;

												sprintf(logBuffer,"\xE5\x8F\x82\xE6\x95\xB0\xE8\xAE\xBE\xE7\xBD\xAE\xE6\x88\x90\xE5\x8A\x9F\xEF\xBC\x81");/* 参数设置成功！ */
												sendLogMessage(0xAA,MCU,CMD_LOG_MESSAGE,logBuffer);

												break;
										}
										case CMD_SHOW_DEVICE_INFO:
										{
												showDeviceInfo();
												break;
										}
										case CMD_RESET_DEVICE:
										{
												break;
										}
										case CMD_SET_RECORD_TIME:
										{
												if(deviceAttributeInfo.recordTimeIndex > 50)
												{
														break;
												}
												if(deviceAttributeInfo.isSetRecordTime == 1)
												{
													for(int i=0;i<50;i++)/* 间隔定时时清除固定定时设置的时间 */
													{
															memset(deviceAttributeInfo.recordTime[i],0,6);
													}
													deviceAttributeInfo.isSetRecordTime = 0;
												}
												memset((char *)deviceAttributeInfo.recordTime[deviceAttributeInfo.recordTimeIndex],0,6);
												memcpy((char *)deviceAttributeInfo.recordTime[deviceAttributeInfo.recordTimeIndex], &RxFrameData[i+4],FrameLen);
												deviceAttributeInfo.recordTime[deviceAttributeInfo.recordTimeIndex][5] = '\0';
												deviceAttributeInfo.recordTimeIndex++;
												deviceAttributeInfo.scheduledDeletion = 0;
												break;
										}
										case CMD_SET_DELAY_TIME:
										{
												deviceAttributeInfo.scheduledDeletion = RxFrameData[i+4] | RxFrameData[i+5] <<8;
												for(int i=0;i<50;i++)/* 间隔定时时清除固定定时设置的时间 */
												{
														memset(deviceAttributeInfo.recordTime[i],0,6);
												}
										}
									  case CMD_SET_TEST_MODE:				/* 设备工作在测试模式 */
										{
												deviceAttributeInfo.sysState = SYS_TEST_MODE_SATE;
												sprintf(logBuffer,"\xE5\xB7\xB2\xE8\xAE\xBE\xE7\xBD\xAE\xE5\xB7\xA5\xE4\xBD\x9C\xE5\x9C\xA8\xE6\xB5\x8B\xE8\xAF\x95\xE6\xA8\xA1\xE5\xBC\x8F");/* 已设置工作在测试模式 */
												sendLogMessage(0xAA,MCU,CMD_LOG_MESSAGE,logBuffer);
												break;
										}
										case CMD_SET_WORK_MODE:				/* 设备工作在工作模式 */
										{
												deviceAttributeInfo.sysState = SYS_OK_STATE;
												sprintf(logBuffer,"\xE5\xB7\xB2\xE8\xAE\xBE\xE7\xBD\xAE\xE5\xB7\xA5\xE4\xBD\x9C\xE5\x9C\xA8\xE5\xB7\xA5\xE4\xBD\x9C\xE6\xA8\xA1\xE5\xBC\x8F");/* 已设置工作在工作模式 */
												sendLogMessage(0xAA,MCU,CMD_LOG_MESSAGE,logBuffer);
												break;
										}
										case CMD_TAKE_PICTURE_TEST_MODE: /* 设备拍照 */
										{
												takePictureTestModeFlag = 1;
												sprintf(logBuffer,"\xE6\x94\xB6\xE5\x88\xB0\xE6\x8B\x8D\xE7\x85\xA7\xE6\x8C\x87\xE4\xBB\xA4");/* 收到拍照指令 */
												sendLogMessage(0xAA,MCU,CMD_LOG_MESSAGE,logBuffer);
												break;
										}
										case CMD_OPEN_MOTO_TEST_MODE: /* 设备打开电机 */
										{
												sprintf(logBuffer,"\xE6\x94\xB6\xE5\x88\xB0\xE6\x89\x93\xE5\xBC\x80\xE7\x94\xB5\xE6\x9C\xBA\xE5\x91\xBD\xE4\xBB\xA4");/* 收到打开电机命令 */
												sendLogMessage(0xAA,MCU,CMD_LOG_MESSAGE,logBuffer);
												break;
										}
										default:
												break;
								}
							}
							i += OneFrameDataLen-1;										/*偏移*/
						}
					}
					else
					{
						WriteBytes(ringbuffer,&RxFrameData[i],FrameDataLen - i);/*未处理的数据写回缓冲区*/
						vPortFree(RxFrameData);  //释放内存
						return ;
					}
				}
			}
		}
		vPortFree(RxFrameData);  //释放内存
	}
}
/* 显示设备设置的属性 */
static void showDeviceInfo(void)
{
	char logBuffer[100];
	sprintf(logBuffer,"\xE5\xBD\x93\xE5\x89\x8D\xE8\xAE\xBE\xE5\xA4\x87\xE4\xBF\xA1\xE6\x81\xAF\xE5\xA6\x82\xE4\xB8\x8B\xEF\xBC\x9A");/* 当前设备信息如下： */
	sendLogMessage(0xAA,MCU,CMD_LOG_MESSAGE,logBuffer);

	memset(logBuffer,0,sizeof(logBuffer));
	sprintf(logBuffer,"\x57\x49\x46\x49\xE5\x90\x8D\xE7\xA7\xB0\xE4\xB8\xBA\x3A%s",deviceAttributeInfo.wifiName);
	sendLogMessage(0xAA,MCU,CMD_LOG_MESSAGE,logBuffer);

	memset(logBuffer,0,sizeof(logBuffer));
	sprintf(logBuffer,"\x57\x49\x46\x49\xE5\xAF\x86\xE7\xA0\x81\xE4\xB8\xBA\x3A%s",deviceAttributeInfo.wifiPssword);
	sendLogMessage(0xAA,MCU,CMD_LOG_MESSAGE,logBuffer);

	memset(logBuffer,0,sizeof(logBuffer));
	sprintf(logBuffer,"\xE6\x9C\x8D\xE5\x8A\xA1\xE5\x99\xA8\xE5\x9C\xB0\xE5\x9D\x80\xE4\xB8\xBA\x3A%s",deviceAttributeInfo.serverIP);
	sendLogMessage(0xAA,MCU,CMD_LOG_MESSAGE,logBuffer);

	memset(logBuffer,0,sizeof(logBuffer));
	sprintf(logBuffer,"\xE6\x9C\x8D\xE5\x8A\xA1\xE5\x99\xA8\xE7\xAB\xAF\xE5\x8F\xA3\xE4\xB8\xBA\x3A%04d",deviceAttributeInfo.serverPort);
	sendLogMessage(0xAA,MCU,CMD_LOG_MESSAGE,logBuffer);

	memset(logBuffer,0,sizeof(logBuffer));
	sprintf(logBuffer,"\xE8\xAE\xBE\xE5\xA4\x87\x49\x44\xE4\xB8\xBA\x3A%s",deviceAttributeInfo.deviceID);
	sendLogMessage(0xAA,MCU,CMD_LOG_MESSAGE,logBuffer);

	memset(logBuffer,0,sizeof(logBuffer));
	sprintf(logBuffer,"\xE9\x97\xAA\xE5\x85\x89\xE7\x81\xAF\xE4\xBA\xAE\xE5\xBA\xa6\xE4\xB8\xBA\x3A%04d",deviceAttributeInfo.ledFlashBrightness);
	sendLogMessage(0xAA,MCU,CMD_LOG_MESSAGE,logBuffer);

	memset(logBuffer,0,sizeof(logBuffer));
	sprintf(logBuffer,"\xE6\x8B\x8D\xE7\x85\xA7\xE7\x9A\x84\xE5\xBB\xB6\xE6\x97\xB6\xE6\x97\xB6\xE9\x97\xB4\xE4\xB8\xBA\x3A%04d",deviceAttributeInfo.takePictureDelayTime);
	sendLogMessage(0xAA,MCU,CMD_LOG_MESSAGE,logBuffer);

	memset(logBuffer,0,sizeof(logBuffer));
	sprintf(logBuffer,"\xE5\x9B\xBA\xE5\xAE\x9A\xE5\xAE\x9A\xE6\x97\xB6\xE7\xBB\x84\xE4\xB8\xBA\x3A");
	sendLogMessage(0xAA,MCU,CMD_LOG_MESSAGE,logBuffer);

	for(uint32_t i=0;i<50;i++)
	{
		if(deviceAttributeInfo.recordTime[i][0] != 0)
		{
			memset(logBuffer,0,sizeof(logBuffer));
			sprintf(logBuffer,"%s",&deviceAttributeInfo.recordTime[i][0]);
			sendLogMessage(0xAA,MCU,CMD_LOG_MESSAGE,logBuffer);
		}
	}
	memset(logBuffer,0,sizeof(logBuffer));
	sprintf(logBuffer,"\xE9\x97\xB4\xE9\x9A\x94\xE5\xAE\x9A\xE6\x97\xB6\xE4\xB8\xBA\x3A%04d",deviceAttributeInfo.scheduledDeletion);
	sendLogMessage(0xAA,MCU,CMD_LOG_MESSAGE,logBuffer);

}
static uint8_t sendLogMessage(unsigned char frameHead, unsigned char frameAddress, unsigned char frameID, char* data)
{
    unsigned char frameDataLen = 0;
		uint32_t cnt = 0;
    char frameData[260];
    frameDataLen = strlen(data);
    frameData[cnt++] = frameHead;                               /* 帧头 */
    frameData[cnt++] = frameAddress;                            /* 帧地址 */
    frameData[cnt++] = frameID;                                 /* 帧ID */
    frameData[cnt++] = frameDataLen;                            /* 帧数据长度 */

		memcpy(&frameData[4],data,frameDataLen);

    unsigned char sumcheck = 0;
    unsigned char addcheck = 0;
    for(unsigned char i=0; i < frameData[3] + 4 ; i++)
    {
        sumcheck += frameData[i]; //从帧头开始，对每一字节进行求和，直到DATA区结束
        addcheck += sumcheck; //每一字节的求和操作，进行一次sumcheck的累加
    }
    frameData[frameDataLen + 4] = sumcheck;
    frameData[frameDataLen + 5] = addcheck;

		while(USBD_OK != CDC_Transmit_HS((uint8_t *)frameData,frameDataLen + 4 + 2)){};
    return frameDataLen + 4 + 2;
}
/* 虚拟串口发送数据 */
static uint8_t vcpSendData(uint8_t frameHead, uint8_t frameAddress, uint8_t frameID, uint8_t* data,uint8_t dataLen)
{
		uint32_t cnt = 0;
    uint8_t frameData[260];

    frameData[cnt++] = frameHead;                               /* 帧头 */
    frameData[cnt++] = frameAddress;                            /* 帧地址 */
    frameData[cnt++] = frameID;                                 /* 帧ID */
    frameData[cnt++] = dataLen;                            /* 帧数据长度 */

		memcpy(&frameData[4],data,dataLen);

    unsigned char sumcheck = 0;
    unsigned char addcheck = 0;
    for(unsigned char i=0; i < frameData[3] + 4 ; i++)
    {
        sumcheck += frameData[i]; //从帧头开始，对每一字节进行求和，直到DATA区结束
        addcheck += sumcheck; //每一字节的求和操作，进行一次sumcheck的累加
    }
    frameData[dataLen + 4] = sumcheck;
    frameData[dataLen + 5] = addcheck;

		while(USBD_OK != CDC_Transmit_HS((uint8_t *)frameData,dataLen + 4 + 2)){};
    return dataLen + 4 + 2;
}

/*
	usart1DataAnalysis(_RingBuffer *ringbuffer)
	功能:解析USART1串口接收的数据
*/
static void usart1DataAnalysis(_RingBuffer *ringbuffer)
{
	unsigned char *FrameData;                                               /* 存储解析帧的空间 */
	unsigned short allFrameDataLen = ringbuffer->Lenght;               			/* 获取缓冲区中的存储的数据长度 */
	uint32_t index = 0;																											/* 数组中的偏移位置 */

	if(xPortGetFreeHeapSize() >= allFrameDataLen)                           /* 判断剩余内存是否大于申请内存 */
	{
			FrameData = (unsigned char *)pvPortMalloc(allFrameDataLen);	        /* 为读取缓冲区中的所有数据申请内存 */
			if(ReadBytes(ringbuffer,FrameData,allFrameDataLen) == 1)						/* 读取缓冲区中的所有数据 */
			{
				for(uint32_t i=0;i<allFrameDataLen;i++)														/*  */
				{
					if((0xAA == FrameData[i]) && (allFrameDataLen - i >= 8))				/* 确认数据帧头同时能得到数据长度 */
					{
						uint32_t dataLen = FrameData[i+4] | FrameData[i+5]<<8 | FrameData[i+6]<<16 | FrameData[i+7]<<24;
						if(allFrameDataLen - i >= 8+dataLen+1)                        /* 能都得到整个帧的数据长度 */
            {
                if(0xBB == FrameData[i+8+dataLen])                				/* 确认数据帧尾 */
                {
                    frameDataAnalysis(&FrameData[i],9+dataLen);      			/* 分析帧的数据 */
                }
                i = i + dataLen + 8;                                      /* 偏移 */
								index = i;
								break;
            }
					}
				}
				WriteBytes(ringbuffer,&FrameData[index],allFrameDataLen - index);
			}
			vPortFree(FrameData);  //释放内存
	}
}
static void frameDataAnalysis(uint8_t *data,uint32_t dataLen)
{
	switch(data[2])
	{
			case SERVER_TO_CLIENT:                      /* 服务器到pc */
			{
				break;
			}
			case PC_TO_CAMER:                           /* pc到camera */
			{
				pcToCameraDeal(data);
				break;
			}
			default:
				break;
	}
}
static void pcToCameraDeal(uint8_t *data)
{
	switch(data[3])
	{
		case TAKE_PICTURE:                           /* pc到camera */
		{
			getTackPictureFlag = 1;
			break;
		}
		case SET_RECORD_TIME:                           /* pc到camera */
		{
			uint32_t dataLen = data[4] | data[5]<<8 | data[6]<<16 | data[7]<<24;
			if(deviceAttributeInfo.recordTimeIndex > 50)
			{
					break;
			}
			if(deviceAttributeInfo.isSetRecordTime == 1)
			{
				for(int i=0;i<50;i++)/* 间隔定时时清除固定定时设置的时间 */
				{
						memset(deviceAttributeInfo.recordTime[i],0,6);
				}
				deviceAttributeInfo.isSetRecordTime = 0;
			}
			memset((char *)deviceAttributeInfo.recordTime[deviceAttributeInfo.recordTimeIndex],0,6);
			memcpy((char *)deviceAttributeInfo.recordTime[deviceAttributeInfo.recordTimeIndex], &data[8],dataLen);
			deviceAttributeInfo.recordTime[deviceAttributeInfo.recordTimeIndex][5] = '\0';
			deviceAttributeInfo.recordTimeIndex++;
			deviceAttributeInfo.scheduledDeletion = 0;
			break;
		}
		case SET_RECORD_TIME_END:                           /* pc到camera */
		{
			deviceAttributeInfo.recordTimeIndex = 0;
			deviceAttributeInfo.isSetRecordTime = 1;
			packTcpDataFrameAndSend(DEVICE_LABEL_CAMERA,CAMER_TO_PC,SET_RECORD_TIME_SUCCESS,0,0);
			bsp_EraseCpuFlash((uint32_t)ADDR_FLASH_SECTOR_7_BANK2);
			bsp_WriteCpuFlash(ADDR_FLASH_SECTOR_7_BANK2,(unsigned char *)deviceAttributeInfo.wifiName,sizeof(_deviceInfo));
			break;
		}
		case SET_SCHEDULED_TIME:                           /* pc到camera */
		{
			deviceAttributeInfo.scheduledDeletion = data[8] | data[9] <<8;
			for(int i=0;i<50;i++)/* 间隔定时时清除固定定时设置的时间 */
			{
					memset(deviceAttributeInfo.recordTime[i],0,6);
			}
			packTcpDataFrameAndSend(DEVICE_LABEL_CAMERA,CAMER_TO_PC,SET_SCHEDULED_TIME_CMD_SUCCESS,0,0);
			bsp_EraseCpuFlash((uint32_t)ADDR_FLASH_SECTOR_7_BANK2);
			bsp_WriteCpuFlash(ADDR_FLASH_SECTOR_7_BANK2,(unsigned char *)deviceAttributeInfo.wifiName,sizeof(_deviceInfo));
			break;
		}
		case OPEN_MOTO_CMD:
		{
			openMotoFlag = 1;
			packTcpDataFrameAndSend(DEVICE_LABEL_CAMERA,CAMER_TO_PC,OPEN_MOTO_SUCCESS_CMD,0,0);
			break;
		}
		default:
			break;
	}
}
/* 给发送的TCP数据封帧，同时将数据推送出去 */
static void packTcpDataFrameAndSend(uint8_t charactar,uint8_t target, uint8_t cmd, uint32_t dataLen, uint8_t *data)
{
	/* 因为TCP数据包的数据量大，同时又因为单片机的内存岌岌可危，采用使用不同内存段来实现发送 */
	/* 0xAA byte1 byte2 byte3  byte4 byte5 byte6 byte7   byteN   0xBB */
	/* 帧头  角色   目标   作用       长度（四字节）          数据载荷   帧尾 */
	uint8_t tempData[20];
	uint32_t cnt = 0;
	tempData[cnt++] = 0xAA;                 /* 帧头 */
	tempData[cnt++] = charactar;      			/* 角色 */
	tempData[cnt++] = target;               /* 目标 */
	tempData[cnt++] = cmd;                  /* 作用 */
	tempData[cnt++] = dataLen;              /* 长度 */
	tempData[cnt++] = dataLen>>8;
	tempData[cnt++] = dataLen>>16;
	tempData[cnt++] = dataLen>>24;
	uint8_t reTryCnt = 0;
	while(HAL_OK != HAL_UART_Transmit(&huart1,(const uint8_t *)tempData,8,0xFFFFFFFF) && reTryCnt <5)
	{
		reTryCnt++;
	}
	if(0 != dataLen)
	{
		reTryCnt = 0;
		while(HAL_OK != HAL_UART_Transmit(&huart1,(const uint8_t *)data,dataLen,0xFFFFFFFF) && reTryCnt <5)
		{
			reTryCnt++;
		}
	}
	reTryCnt = 0;
	tempData[0] = 0xBB;
	while(HAL_OK != HAL_UART_Transmit(&huart1,(const uint8_t *)tempData,1,0xFFFFFFFF) && reTryCnt <5)
	{
		reTryCnt++;
	}
}

/* USER CODE END Application */
